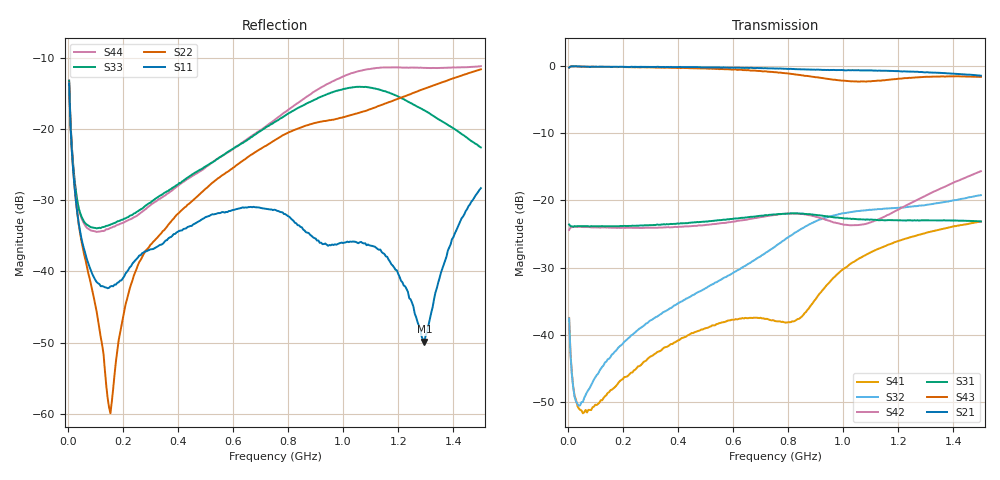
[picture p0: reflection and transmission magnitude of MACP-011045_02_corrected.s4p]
!Agilent Technologies,E5071B,JP1KK00267,A.09.10
!Date: Fri Sep 22 11:04:20 2017
!Data & Calibration Information:
!Freq	S11:SOLT4(ON)	S12:SOLT4(ON)	S13:SOLT4(ON)	S14:SOLT4(ON)
!	S21:SOLT4(ON)	S22:SOLT4(ON)	S23:SOLT4(ON)	S24:SOLT4(ON)
!	S31:SOLT4(ON)	S32:SOLT4(ON)	S33:SOLT4(ON)	S34:SOLT4(ON)
!	S41:SOLT4(ON)	S42:SOLT4(ON)	S43:SOLT4(ON)	S44:SOLT4(ON)
! "David Morgan-soldered to Test PCB SM1, calibration OSLT PCB 1000029771 Edge launch SMA connectors, port 1-pin1,port 2-pin6,port 3-pin4, port 4-pin3 ENA E5071B"
! Created with skrf 1.8.0 (http://scikit-rf.org).
# Hz S RI R 50.0
!freq ReS11 ImS11 ReS12 ImS12 ReS13 ImS13
! ReS14 ImS14
! ReS21 ImS21 ReS22 ImS22 ReS23 ImS23
! ReS24 ImS24
! ReS31 ImS31 ReS32 ImS32 ReS33 ImS33
! ReS34 ImS34
! ReS41 ImS41 ReS42 ImS42 ReS43 ImS43
! ReS44 ImS44
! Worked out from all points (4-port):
!   300 points, 5 MHz to 1.5 GHz, reference 50 ohm
!   strongest paths, dB at 5 MHz, 380 MHz, 755 MHz, 1.13 GHz, 1.5 GHz:
!     S21: -0.2, -0.2, -0.4, -0.7, -1.4
!     S43: -0.2, -0.3, -0.9, -2.2, -1.6
!     S31: -23.6, -23.5, -22.1, -22.9, -23.1
!     S42: -24.4, -24.0, -22.1, -22.8, -15.6
!     S32: -37.5, -35.9, -26.8, -21.3, -19.2
!     S41: -37.5, -41.4, -38.0, -27.2, -23.1
!   lowest |S11| = -49.9 dB at 1.295 GHz (marker M1), VSWR 1.01, Z = 49.8 + j0.276 ohm
!   |S11| at or under -10 dB: start of sweep to end of sweep
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5000000  -0.047 0.2035  0.9533 0.2003  -0.0662 -0.000968  -0.00705 0.0114
         0.9531 0.2012  -0.043 0.2062  -0.00461 0.0125  0.0548 0.0256
         -0.0663 -0.00108  -0.00462 0.0125  -0.0488 0.2119  0.9495 0.2073
         -0.00706 0.0114  0.0548 0.0256  0.95 0.2078  -0.048 0.2135
5e7  -0.00664 0.0155  0.9883 -0.0151  -0.064 0.00734  -0.00178 0.00198
     0.9902 -0.0134  -0.0025 0.016  0.000589 0.00321  0.0636 0.00358
     -0.064 0.00731  0.000605 0.00311  -0.00575 0.0235  0.9905 -0.0201
     -0.00182 0.00205  0.0635 0.00362  0.9899 -0.0194  -0.00374 0.0233
1.55e8  -0.00778 -0.001  0.984 -0.0855  -0.0603 0.0222  -0.00211 0.00318
        0.9817 -0.0874  -0.000767 -0.000658  0.00103 0.00689  0.0625 0.00501
        -0.0604 0.0222  0.00103 0.00677  -0.00076 0.0213  0.9779 -0.1062
        -0.00207 0.00328  0.0627 0.00503  0.9782 -0.1066  -0.000158 0.0202
3.95e8  -0.0113 -0.015  0.9537 -0.2276  -0.0432 0.0515  -0.000987 0.00881
        0.9553 -0.2262  0.013 -0.0212  0.00241 0.0168  0.0618 0.0143
        -0.0433 0.0514  0.00235 0.0167  0.0255 0.0312  0.9297 -0.2728
        -0.000986 0.00891  0.0618 0.0144  0.9297 -0.2739  0.0257 0.0296
1.115e9  -0.01 -0.011  0.7322 -0.5651  0.0584 0.041  0.0115 0.0409
         0.7297 -0.5681  0.0512 -0.1313  0.0684 0.0512  0.0511 0.0489
         0.0586 0.0417  0.0683 0.0519  0.0157 -0.1912  0.6174 -0.4683
         0.0117 0.0409  0.0513 0.0487  0.618 -0.4658  0.2093 -0.1641
1.295e9  -0.00163 0.00277  0.639 -0.629  0.068 0.0185  0.0386 0.0418
         0.6372 -0.6315  0.0659 -0.1798  0.083 0.0391  0.0618 0.0886
         0.0688 0.0183  0.0833 0.0391  -0.0712 -0.1143  0.6178 -0.5524
         0.0388 0.0417  0.0608 0.0884  0.6211 -0.5491  0.1393 -0.2285
1.5e9  0.0326 0.0202  0.5201 -0.6662  0.0669 -0.0169  0.0666 0.0192
       0.5205 -0.6695  0.0597 -0.2546  0.1059 0.0257  0.1015 0.131
       0.0675 -0.0177  0.1065 0.0255  -0.0589 -0.0448  0.5198 -0.6455
       0.0669 0.0195  0.1004 0.131  0.5227 -0.6448  0.093 -0.2589
